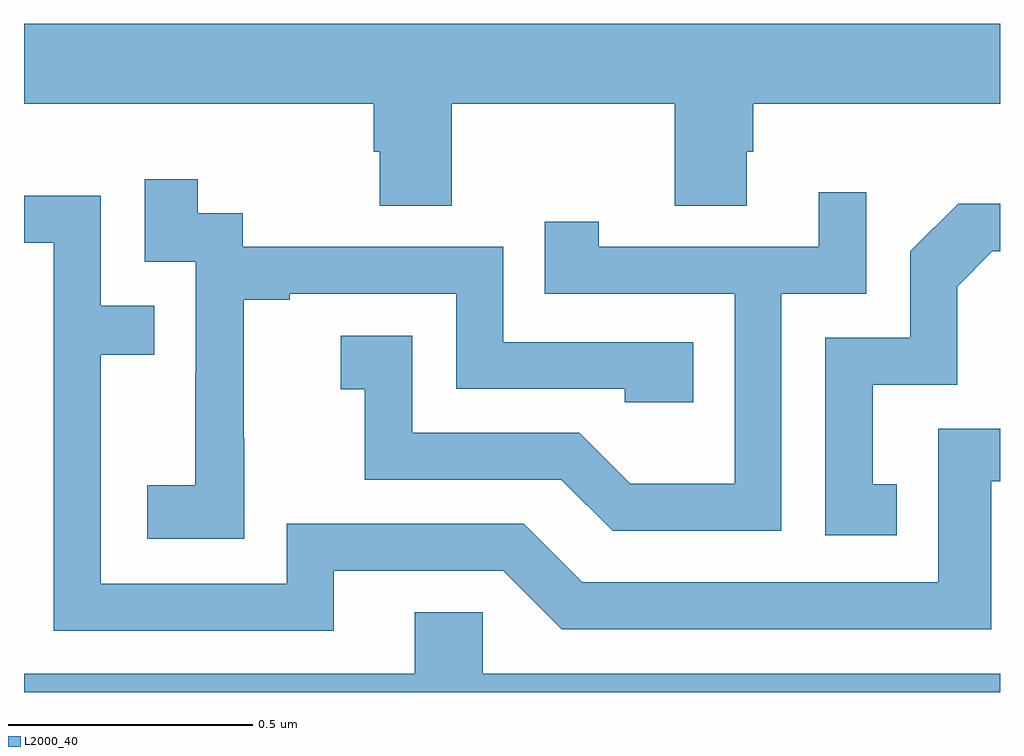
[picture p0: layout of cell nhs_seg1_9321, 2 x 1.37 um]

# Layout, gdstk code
import gdstk
lib = gdstk.Library(unit=1e-6, precision=1e-09)
def P(c, l, *ps):  # polygons
    for p in ps: c.add(gdstk.Polygon(p, *l))
L2000_40 = (2000, 40)

nhs_seg1_9321 = lib.new_cell('nhs_seg1_9321')
P(nhs_seg1_9321, L2000_40, [(227.877,546.404),(228.334,546.404),(228.334,546.196),(228.481,546.196),(228.481,546.306),(228.494,546.306),(228.494,546.404),(229,546.404),(229,546.568),(227,546.568),(227,546.404),(227.717,546.404),(227.717,546.306),(227.729,546.306),(227.729,546.196),(227.877,546.196)],
  [(227.451,545.719),(227.45,545.719),(227.45,546.003),(227.545,546.003),(227.545,546.015),(227.886,546.015),(227.886,545.82),(228.231,545.82),(228.231,545.793),(228.371,545.793),(228.371,545.916),(227.982,545.916),(227.982,546.111),(227.448,546.111),(227.448,546.18),(227.356,546.18),(227.356,546.25),(227.247,546.25),(227.247,546.081),(227.352,546.081),(227.352,545.852),(227.351,545.852),(227.351,545.623),(227.253,545.623),(227.253,545.513),(227.451,545.513)],
  [(228.552,546.015),(228.726,546.015),(228.726,546.223),(228.629,546.223),(228.629,546.111),(228.178,546.111),(228.178,546.163),(228.067,546.163),(228.067,546.015),(228.456,546.015),(228.456,545.626),(228.242,545.626),(228.138,545.73),(227.796,545.73),(227.796,545.929),(227.649,545.929),(227.649,545.819),(227.698,545.819),(227.698,545.634),(228.101,545.634),(228.206,545.529),(228.552,545.529)],
  [(227.635,545.448),(227.982,545.448),(228.102,545.328),(228.982,545.328),(228.982,545.631),(229,545.631),(229,545.739),(228.873,545.739),(228.873,545.424),(228.144,545.424),(228.024,545.544),(227.538,545.544),(227.538,545.421),(227.157,545.421),(227.157,545.89),(227.267,545.89),(227.267,545.991),(227.157,545.991),(227.157,546.216),(227,546.216),(227,546.12),(227.061,546.12),(227.061,545.325),(227.635,545.325)],
  [(228.788,545.625),(228.739,545.625),(228.739,545.829),(228.912,545.829),(228.912,546.03),(228.984,546.102),(229,546.102),(229,546.2),(228.914,546.2),(228.816,546.102),(228.816,545.925),(228.642,545.925),(228.642,545.52),(228.788,545.52)],
  [(229,545.236),(227.94,545.236),(227.94,545.363),(227.801,545.363),(227.801,545.236),(227,545.236),(227,545.199),(229,545.199)])

lib.write_gds('nhs_seg1_9321.gds')
